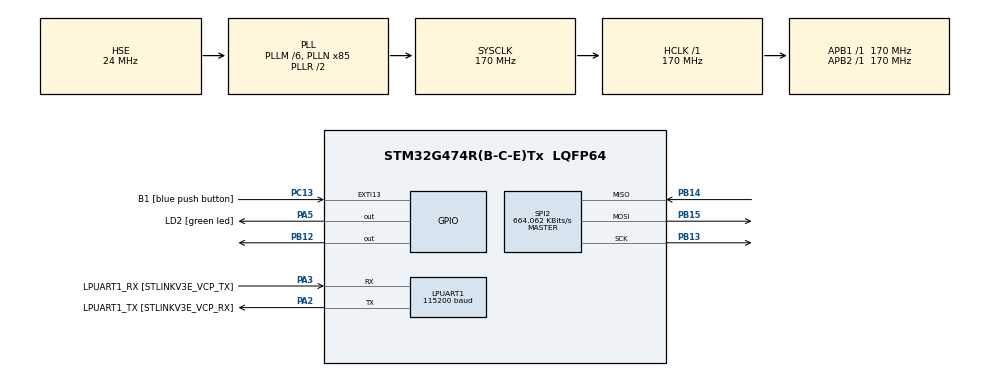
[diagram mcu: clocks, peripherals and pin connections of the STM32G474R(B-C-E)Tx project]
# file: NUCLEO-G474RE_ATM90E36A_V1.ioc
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Dma.Request0=SPI2_RX
Dma.Request1=SPI2_TX
Dma.SPI2_RX.0.Direction=DMA_PERIPH_TO_MEMORY
Dma.SPI2_RX.0.EventEnable=DISABLE
Dma.SPI2_RX.0.Instance=DMA1_Channel1
Dma.SPI2_RX.0.MemDataAlignment=DMA_MDATAALIGN_BYTE
Dma.SPI2_RX.0.MemInc=DMA_MINC_ENABLE
Dma.SPI2_RX.0.Mode=DMA_NORMAL
Dma.SPI2_RX.0.PeriphDataAlignment=DMA_PDATAALIGN_BYTE
Dma.SPI2_RX.0.PeriphInc=DMA_PINC_DISABLE
Dma.SPI2_RX.0.Polarity=HAL_DMAMUX_REQ_GEN_RISING
Dma.SPI2_RX.0.Priority=DMA_PRIORITY_LOW
Dma.SPI2_RX.0.RequestNumber=1
Dma.SPI2_RX.0.SignalID=NONE
Dma.SPI2_RX.0.SyncEnable=DISABLE
Dma.SPI2_RX.0.SyncPolarity=HAL_DMAMUX_SYNC_NO_EVENT
Dma.SPI2_RX.0.SyncRequestNumber=1
Dma.SPI2_RX.0.SyncSignalID=NONE
Dma.SPI2_TX.1.Direction=DMA_MEMORY_TO_PERIPH
Dma.SPI2_TX.1.EventEnable=DISABLE
Dma.SPI2_TX.1.Instance=DMA1_Channel2
Dma.SPI2_TX.1.MemDataAlignment=DMA_MDATAALIGN_BYTE
Dma.SPI2_TX.1.MemInc=DMA_MINC_ENABLE
Dma.SPI2_TX.1.Mode=DMA_NORMAL
Dma.SPI2_TX.1.PeriphDataAlignment=DMA_PDATAALIGN_BYTE
Dma.SPI2_TX.1.PeriphInc=DMA_PINC_DISABLE
Dma.SPI2_TX.1.Polarity=HAL_DMAMUX_REQ_GEN_RISING
Dma.SPI2_TX.1.Priority=DMA_PRIORITY_LOW
Dma.SPI2_TX.1.RequestNumber=1
Dma.SPI2_TX.1.SignalID=NONE
Dma.SPI2_TX.1.SyncEnable=DISABLE
Dma.SPI2_TX.1.SyncPolarity=HAL_DMAMUX_SYNC_NO_EVENT
Dma.SPI2_TX.1.SyncRequestNumber=1
Dma.SPI2_TX.1.SyncSignalID=NONE
LPUART1.BaudRate=115200
LPUART1.WordLength=UART_WORDLENGTH_8B
Mcu.Family=STM32G4
Mcu.Name=STM32G474R(B-C-E)Tx
Mcu.Package=LQFP64
NVIC.DMA1_Channel1_IRQn=true\:0\:0\:false\:false\:true\:false\:true\:true
NVIC.DMA1_Channel2_IRQn=true\:0\:0\:false\:false\:true\:false\:true\:true
NVIC.EXTI15_10_IRQn=true\:0\:0\:false\:false\:true\:true\:true\:true
NVIC.PriorityGroup=NVIC_PRIORITYGROUP_4
PA13.GPIO_Label=T_SWDIO
PA13.Mode=Trace_Asynchronous_SW
PA13.Signal=SYS_JTMS-SWDIO
PA14.GPIO_Label=T_SWCLK
PA14.Mode=Trace_Asynchronous_SW
PA14.Signal=SYS_JTCK-SWCLK
PA2.GPIO_Label=LPUART1_TX [STLINKV3E_VCP_RX]
PA2.Mode=Asynchronous
PA2.Signal=LPUART1_TX
PA3.GPIO_Label=LPUART1_RX [STLINKV3E_VCP_TX]
PA3.Mode=Asynchronous
PA3.Signal=LPUART1_RX
PA5.GPIO_Label=LD2 [green led]
PA5.Signal=GPIO_Output
PB12.PinState=GPIO_PIN_SET
PB12.Signal=GPIO_Output
PB13.GPIO_PuPd=GPIO_PULLUP
PB13.Mode=Full_Duplex_Master
PB13.Signal=SPI2_SCK
PB14.GPIO_PuPd=GPIO_NOPULL
PB14.Mode=Full_Duplex_Master
PB14.Signal=SPI2_MISO
PB15.Mode=Full_Duplex_Master
PB15.Signal=SPI2_MOSI
PB3.GPIO_Label=T_SWO
PB3.Mode=Trace_Asynchronous_SW
PB3.Signal=SYS_JTDO-SWO
PC13.GPIO_Label=B1 [blue push button]
PC13.Signal=GPXTI13
PC14-OSC32_IN.Mode=LSE-External-Oscillator
PC14-OSC32_IN.Signal=RCC_OSC32_IN
PC15-OSC32_OUT.Mode=LSE-External-Oscillator
PC15-OSC32_OUT.Signal=RCC_OSC32_OUT
PF0-OSC_IN.Mode=HSE-External-Oscillator
PF0-OSC_IN.Signal=RCC_OSC_IN
PF1-OSC_OUT.Mode=HSE-External-Oscillator
PF1-OSC_OUT.Signal=RCC_OSC_OUT
ProjectManager.HeapSize=0x200
ProjectManager.StackSize=0x400
ProjectManager.TargetToolchain=STM32CubeIDE
RCC.ADC12Freq_Value=170000000
RCC.ADC345Freq_Value=170000000
RCC.AHBFreq_Value=170000000
RCC.APB1Freq_Value=170000000
RCC.APB1TimFreq_Value=170000000
RCC.APB2Freq_Value=170000000
RCC.APB2TimFreq_Value=170000000
RCC.CortexFreq_Value=170000000
RCC.EXTERNAL_CLOCK_VALUE=12288000
RCC.HCLKFreq_Value=170000000
RCC.HSE_VALUE=24000000
RCC.HSI48_VALUE=48000000
RCC.HSI_VALUE=16000000
RCC.LSE_VALUE=32768
RCC.PLLM=RCC_PLLM_DIV6
RCC.PLLN=85
RCC.PLLSource=RCC_PLLSOURCE_HSE
RCC.PLLSourceVirtual=RCC_PLLSOURCE_HSE
RCC.PLLSourceVirtualString=RCC_PLLSOURCE_HSE
RCC.RTCClockSelection=RCC_RTCCLKSOURCE_LSE
RCC.SYSCLKFreq_VALUE=170000000
RCC.SYSCLKSource=RCC_SYSCLKSOURCE_PLLCLK
RCC.USBFreq_Value=170000000
RCC.VCOOutputFreq_Value=340000000
SPI2.BaudRatePrescaler=SPI_BAUDRATEPRESCALER_256
SPI2.CLKPhase=SPI_PHASE_2EDGE
SPI2.CLKPolarity=SPI_POLARITY_HIGH
SPI2.CRCCalculation=SPI_CRCCALCULATION_DISABLE
SPI2.CalculateBaudRate=664.062 KBits/s
SPI2.DataSize=SPI_DATASIZE_8BIT
SPI2.Direction=SPI_DIRECTION_2LINES
SPI2.Mode=SPI_MODE_MASTER
SPI2.VirtualType=VM_MASTER
VP_SYS_VS_DBSignals.Mode=DisableDeadBatterySignals
board=NUCLEO-G474RE

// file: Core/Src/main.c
/* USER CODE BEGIN Header */
/**
 ******************************************************************************
 * @file           : main.c
 * @brief          : Main program body
 ******************************************************************************
 * @attention
 *
 * Copyright (c) 2024 STMicroelectronics.
 * All rights reserved.
 *
 * This software is licensed under terms that can be found in the LICENSE file
 * in the root directory of this software component.
 * If no LICENSE file comes with this software, it is provided AS-IS.
 *
 ******************************************************************************
 */
/* USER CODE END Header */
#include "main.h"

/* USER CODE BEGIN Includes */

#include <stdio.h>

/* USER CODE END Includes */

/* USER CODE BEGIN PD */

#define ATM90E3XA_read   0x80
#define ATM90E3XA_write  0x0

/* USER CODE END PD */

UART_HandleTypeDef hlpuart1;

SPI_HandleTypeDef hspi2;
DMA_HandleTypeDef hdma_spi2_rx;
DMA_HandleTypeDef hdma_spi2_tx;

/* USER CODE BEGIN PV */

uint8_t SPI_TXRX_stat;

/* USER CODE END PV */

void SystemClock_Config(void);
static void MX_GPIO_Init(void);
static void MX_DMA_Init(void);
static void MX_LPUART1_UART_Init(void);
static void MX_SPI2_Init(void);
/* USER CODE BEGIN PFP */

void VT_Print_Read_ATM90E3XA_address(uint16_t address);
void VT_Print_Write_ATM90E3XA_address(uint16_t address, uint16_t data);

/* USER CODE END PFP */

int main(void)
{

  /* MCU Configuration--------------------------------------------------------*/

  /* Reset of all peripherals, Initializes the Flash interface and the Systick. */
  HAL_Init();

  /* Configure the system clock */
  SystemClock_Config();

  /* Initialize all configured peripherals */
  MX_GPIO_Init();
  MX_DMA_Init();
  MX_LPUART1_UART_Init();
  MX_SPI2_Init();
  /* USER CODE BEGIN 2 */

	printf("================================================\n");
	printf("Starting >> NUCLEO-G474RE_ATM90E36A_V1 \n");

	for(uint16_t address = 0; address < (0x4 + 1); address++)
		VT_Print_Read_ATM90E3XA_address(address);

	for(uint16_t address = 7; address < (0x1d + 1); address++)
		VT_Print_Read_ATM90E3XA_address(address);

	for(uint16_t address = 0x30; address < (0x3b + 1); address++)
		VT_Print_Read_ATM90E3XA_address(address);

	for(uint16_t address = 0x40; address < (0x4d + 1); address++)
		VT_Print_Read_ATM90E3XA_address(address);

	for(uint16_t address = 0x50; address < (0x57 + 1); address++)
		VT_Print_Read_ATM90E3XA_address(address);

	for(uint16_t address = 0x60; address < (0x6f + 1); address++)
		VT_Print_Read_ATM90E3XA_address(address);

	for(uint16_t address = 0x80; address < (0x99 + 1); address++)
		VT_Print_Read_ATM90E3XA_address(address);

	for(uint16_t address = 0xa0; address < (0xcb + 1); address++)
		VT_Print_Read_ATM90E3XA_address(address);

	for(uint16_t address = 0xd0; address < (0xef + 1); address++)
		VT_Print_Read_ATM90E3XA_address(address);

	for(uint16_t address = 0xf1; address < (0xff + 1); address++)
		VT_Print_Read_ATM90E3XA_address(address);

	for(uint16_t address = 0x100; address < (0x102 + 1); address++)
		VT_Print_Read_ATM90E3XA_address(address);

	for(uint16_t address = 0x11e; address < (0x122 + 1); address++)
		VT_Print_Read_ATM90E3XA_address(address);

	for(uint16_t address = 0x13e; address < (0x142 + 1); address++)
		VT_Print_Read_ATM90E3XA_address(address);

	for(uint16_t address = 0x15e; address < (0x162 + 1); address++)
		VT_Print_Read_ATM90E3XA_address(address);

	for(uint16_t address = 0x17e; address < (0x182 + 1); address++)
		VT_Print_Read_ATM90E3XA_address(address);

	for(uint16_t address = 0x15e; address < (0x162 + 1); address++)
		VT_Print_Read_ATM90E3XA_address(address);

	for(uint16_t address = 0x19e; address < (0x1a2 + 1); address++)
		VT_Print_Read_ATM90E3XA_address(address);

	for(uint16_t address = 0x1be; address < (0x1c5 + 1); address++)
		VT_Print_Read_ATM90E3XA_address(address);

	for(uint16_t address = 0x1d0; address < (0x1d1 + 1); address++)
		VT_Print_Read_ATM90E3XA_address(address);

	VT_Print_Read_ATM90E3XA_address(0x216);

	VT_Print_Read_ATM90E3XA_address(0x219);

	VT_Print_Read_ATM90E3XA_address(0x270);

	VT_Print_Read_ATM90E3XA_address(0x27b);

	VT_Print_Read_ATM90E3XA_address(0x2fc);

	VT_Print_Read_ATM90E3XA_address(0x2fd);

	VT_Print_Write_ATM90E3XA_address(0x8, 0xf0f0);

	VT_Print_Write_ATM90E3XA_address(0x9, 0x1234);

	for(uint16_t address = 0xa; address < (0xd + 1); address++)
		VT_Print_Write_ATM90E3XA_address(address, 0x1111);

	for(uint16_t address = 8; address < (0xd + 1); address++)
		VT_Print_Read_ATM90E3XA_address(address);

	printf("Software Reset ATM90E36A ......... \n");
	VT_Print_Write_ATM90E3XA_address(0x0, 0x789a);

	for(uint16_t address = 8; address < (0xd + 1); address++)
		VT_Print_Read_ATM90E3XA_address(address);

	printf("Ending   >> NUCLEO-G474RE_ATM90E36A_V1 \n\n");

  /* USER CODE END 2 */

  /* Infinite loop */
  /* USER CODE BEGIN WHILE */
	while (1)
	{
		HAL_GPIO_TogglePin(GPIOA, GPIO_PIN_5);
		HAL_Delay(100);
    /* USER CODE END WHILE */

	}
}

void SystemClock_Config(void)
{
  RCC_OscInitTypeDef RCC_OscInitStruct = {0};
  RCC_ClkInitTypeDef RCC_ClkInitStruct = {0};

  /** Configure the main internal regulator output voltage
  */
  HAL_PWREx_ControlVoltageScaling(PWR_REGULATOR_VOLTAGE_SCALE1_BOOST);

  /** Initializes the RCC Oscillators according to the specified parameters
  * in the RCC_OscInitTypeDef structure.
  */
  RCC_OscInitStruct.OscillatorType = RCC_OSCILLATORTYPE_HSE;
  RCC_OscInitStruct.HSEState = RCC_HSE_ON;
  RCC_OscInitStruct.PLL.PLLState = RCC_PLL_ON;
  RCC_OscInitStruct.PLL.PLLSource = RCC_PLLSOURCE_HSE;
  RCC_OscInitStruct.PLL.PLLM = RCC_PLLM_DIV6;
  RCC_OscInitStruct.PLL.PLLN = 85;
  RCC_OscInitStruct.PLL.PLLP = RCC_PLLP_DIV2;
  RCC_OscInitStruct.PLL.PLLQ = RCC_PLLQ_DIV2;
  RCC_OscInitStruct.PLL.PLLR = RCC_PLLR_DIV2;
  if (HAL_RCC_OscConfig(&RCC_OscInitStruct) != HAL_OK)
  {
    Error_Handler();
  }

  /** Initializes the CPU, AHB and APB buses clocks
  */
  RCC_ClkInitStruct.ClockType = RCC_CLOCKTYPE_HCLK|RCC_CLOCKTYPE_SYSCLK
                              |RCC_CLOCKTYPE_PCLK1|RCC_CLOCKTYPE_PCLK2;
  RCC_ClkInitStruct.SYSCLKSource = RCC_SYSCLKSOURCE_PLLCLK;
  RCC_ClkInitStruct.AHBCLKDivider = RCC_SYSCLK_DIV1;
  RCC_ClkInitStruct.APB1CLKDivider = RCC_HCLK_DIV1;
  RCC_ClkInitStruct.APB2CLKDivider = RCC_HCLK_DIV1;

  if (HAL_RCC_ClockConfig(&RCC_ClkInitStruct, FLASH_LATENCY_4) != HAL_OK)
  {
    Error_Handler();
  }
}

static void MX_LPUART1_UART_Init(void)
{

  hlpuart1.Instance = LPUART1;
  hlpuart1.Init.BaudRate = 115200;
  hlpuart1.Init.WordLength = UART_WORDLENGTH_8B;
  hlpuart1.Init.StopBits = UART_STOPBITS_1;
  hlpuart1.Init.Parity = UART_PARITY_NONE;
  hlpuart1.Init.Mode = UART_MODE_TX_RX;
  hlpuart1.Init.HwFlowCtl = UART_HWCONTROL_NONE;
  hlpuart1.Init.OneBitSampling = UART_ONE_BIT_SAMPLE_DISABLE;
  hlpuart1.Init.ClockPrescaler = UART_PRESCALER_DIV1;
  hlpuart1.AdvancedInit.AdvFeatureInit = UART_ADVFEATURE_NO_INIT;
  if (HAL_UART_Init(&hlpuart1) != HAL_OK)
  {
    Error_Handler();
  }
  if (HAL_UARTEx_SetTxFifoThreshold(&hlpuart1, UART_TXFIFO_THRESHOLD_1_8) != HAL_OK)
  {
    Error_Handler();
  }
  if (HAL_UARTEx_SetRxFifoThreshold(&hlpuart1, UART_RXFIFO_THRESHOLD_1_8) != HAL_OK)
  {
    Error_Handler();
  }
  if (HAL_UARTEx_DisableFifoMode(&hlpuart1) != HAL_OK)
  {
    Error_Handler();
  }

}

static void MX_SPI2_Init(void)
{

  /* SPI2 parameter configuration*/
  hspi2.Instance = SPI2;
  hspi2.Init.Mode = SPI_MODE_MASTER;
  hspi2.Init.Direction = SPI_DIRECTION_2LINES;
  hspi2.Init.DataSize = SPI_DATASIZE_8BIT;
  hspi2.Init.CLKPolarity = SPI_POLARITY_HIGH;
  hspi2.Init.CLKPhase = SPI_PHASE_2EDGE;
  hspi2.Init.NSS = SPI_NSS_SOFT;
  hspi2.Init.BaudRatePrescaler = SPI_BAUDRATEPRESCALER_256;
  hspi2.Init.FirstBit = SPI_FIRSTBIT_MSB;
  hspi2.Init.TIMode = SPI_TIMODE_DISABLE;
  hspi2.Init.CRCCalculation = SPI_CRCCALCULATION_DISABLE;
  hspi2.Init.CRCPolynomial = 7;
  hspi2.Init.CRCLength = SPI_CRC_LENGTH_DATASIZE;
  hspi2.Init.NSSPMode = SPI_NSS_PULSE_DISABLE;
  if (HAL_SPI_Init(&hspi2) != HAL_OK)
  {
    Error_Handler();
  }

}

static void MX_DMA_Init(void)
{

  /* DMA controller clock enable */
  __HAL_RCC_DMAMUX1_CLK_ENABLE();
  __HAL_RCC_DMA1_CLK_ENABLE();

  /* DMA interrupt init */
  /* DMA1_Channel1_IRQn interrupt configuration */
  HAL_NVIC_SetPriority(DMA1_Channel1_IRQn, 0, 0);
  HAL_NVIC_EnableIRQ(DMA1_Channel1_IRQn);
  /* DMA1_Channel2_IRQn interrupt configuration */
  HAL_NVIC_SetPriority(DMA1_Channel2_IRQn, 0, 0);
  HAL_NVIC_EnableIRQ(DMA1_Channel2_IRQn);

}

static void MX_GPIO_Init(void)
{
  GPIO_InitTypeDef GPIO_InitStruct = {0};

  /* GPIO Ports Clock Enable */
  __HAL_RCC_GPIOC_CLK_ENABLE();
  __HAL_RCC_GPIOF_CLK_ENABLE();
  __HAL_RCC_GPIOA_CLK_ENABLE();
  __HAL_RCC_GPIOB_CLK_ENABLE();

  /*Configure GPIO pin Output Level */
  HAL_GPIO_WritePin(LD2_GPIO_Port, LD2_Pin, GPIO_PIN_RESET);

  /*Configure GPIO pin Output Level */
  HAL_GPIO_WritePin(GPIOB, GPIO_PIN_12, GPIO_PIN_SET);

  /*Configure GPIO pin : B1_Pin */
  GPIO_InitStruct.Pin = B1_Pin;
  GPIO_InitStruct.Mode = GPIO_MODE_IT_RISING;
  GPIO_InitStruct.Pull = GPIO_NOPULL;
  HAL_GPIO_Init(B1_GPIO_Port, &GPIO_InitStruct);

  /*Configure GPIO pin : LD2_Pin */
  GPIO_InitStruct.Pin = LD2_Pin;
  GPIO_InitStruct.Mode = GPIO_MODE_OUTPUT_PP;
  GPIO_InitStruct.Pull = GPIO_NOPULL;
  GPIO_InitStruct.Speed = GPIO_SPEED_FREQ_LOW;
  HAL_GPIO_Init(LD2_GPIO_Port, &GPIO_InitStruct);

  /*Configure GPIO pin : PB12 */
  GPIO_InitStruct.Pin = GPIO_PIN_12;
  GPIO_InitStruct.Mode = GPIO_MODE_OUTPUT_PP;
  GPIO_InitStruct.Pull = GPIO_NOPULL;
  GPIO_InitStruct.Speed = GPIO_SPEED_FREQ_LOW;
  HAL_GPIO_Init(GPIOB, &GPIO_InitStruct);

  /* EXTI interrupt init*/
  HAL_NVIC_SetPriority(EXTI15_10_IRQn, 0, 0);
  HAL_NVIC_EnableIRQ(EXTI15_10_IRQn);

}

/* USER CODE BEGIN 4 */

void VT_Print_Read_ATM90E3XA_address(uint16_t address)
{
	SPI_TXRX_stat = 0;
	uint8_t ATM90E3XA_TX[4] = {0,0,0,0}, ATM90E3XA_RX[4] = {0,0,0,0};

	ATM90E3XA_TX[0] = ATM90E3XA_read + (uint8_t) (address >> 8);
	ATM90E3XA_TX[1] = (uint8_t) address;

	HAL_GPIO_WritePin(GPIOB, GPIO_PIN_12, RESET);
	switch (HAL_SPI_TransmitReceive_DMA(&hspi2, ATM90E3XA_TX, ATM90E3XA_RX, 4))
	{
	case HAL_OK: 	  /* Communication is completed ___________________________________________ */
		break;
	case HAL_TIMEOUT: /* An Error Occur ______________________________________________________ */
		printf("SPI HAL_TIMEOUT \n");
	case HAL_ERROR:   /* Call Timeout Handler */
		printf("SPI HAL_ERROR \n");
		Error_Handler();
		break;
	default:
		break;
	}

	while(!SPI_TXRX_stat){}
	HAL_GPIO_WritePin(GPIOB, GPIO_PIN_12, SET);
	printf("Read  Address %X%02Xh = %02X%02Xh \n", (ATM90E3XA_TX[0] & 0x7f), ATM90E3XA_TX[1],ATM90E3XA_RX[2],ATM90E3XA_RX[3]);

}

void VT_Print_Write_ATM90E3XA_address(uint16_t address, uint16_t data)
{
	SPI_TXRX_stat = 0;
	uint8_t ATM90E3XA_TX[4] = {0,0,0,0}, ATM90E3XA_RX[4] = {0,0,0,0};

	ATM90E3XA_TX[0] = (uint8_t) (address >> 8);
	ATM90E3XA_TX[1] = (uint8_t) address;
	ATM90E3XA_TX[2] = (uint8_t) (data >> 8);
	ATM90E3XA_TX[3] = (uint8_t) data;

	HAL_GPIO_WritePin(GPIOB, GPIO_PIN_12, RESET);
	switch (HAL_SPI_TransmitReceive_DMA(&hspi2, ATM90E3XA_TX, ATM90E3XA_RX, 4))
	{
	case HAL_OK: 	  /* Communication is completed ___________________________________________ */
		break;
	case HAL_TIMEOUT: /* An Error Occur ______________________________________________________ */
		printf("SPI HAL_TIMEOUT \n");
	case HAL_ERROR:   /* Call Timeout Handler */
		printf("SPI HAL_ERROR \n");
		Error_Handler();
		break;
	default:
		break;
	}

	while(!SPI_TXRX_stat){}
	HAL_GPIO_WritePin(GPIOB, GPIO_PIN_12, SET);
	printf("Write Address %X%02Xh = %02X%02Xh \n", (ATM90E3XA_TX[0]), ATM90E3XA_TX[1],ATM90E3XA_TX[2],ATM90E3XA_TX[3]);

}

void HAL_SPI_TxRxCpltCallback(SPI_HandleTypeDef *hspi)
{
	/* Prevent unused argument(s) compilation warning */
	UNUSED(hspi);

	/* NOTE : This function should not be modified, when the callback is needed,
            the HAL_SPI_RxCpltCallback should be implemented in the user file
	 */

	//	for(int cntr = 0; cntr < num_data; cntr++)
	//	{
	//		printf("ADT7310_RX [%x] = %x \n", cntr, ADT7310_RX[cntr]);
	//	}

	SPI_TXRX_stat = 1;

}

/* USER CODE END 4 */

void Error_Handler(void)
{
  /* USER CODE BEGIN Error_Handler_Debug */
	/* User can add his own implementation to report the HAL error return state */
	printf("Error_Handler \n");
	HAL_GPIO_WritePin(GPIOA, GPIO_PIN_5, SET);
	__disable_irq();
	while (1)
	{
	}
  /* USER CODE END Error_Handler_Debug */
}
